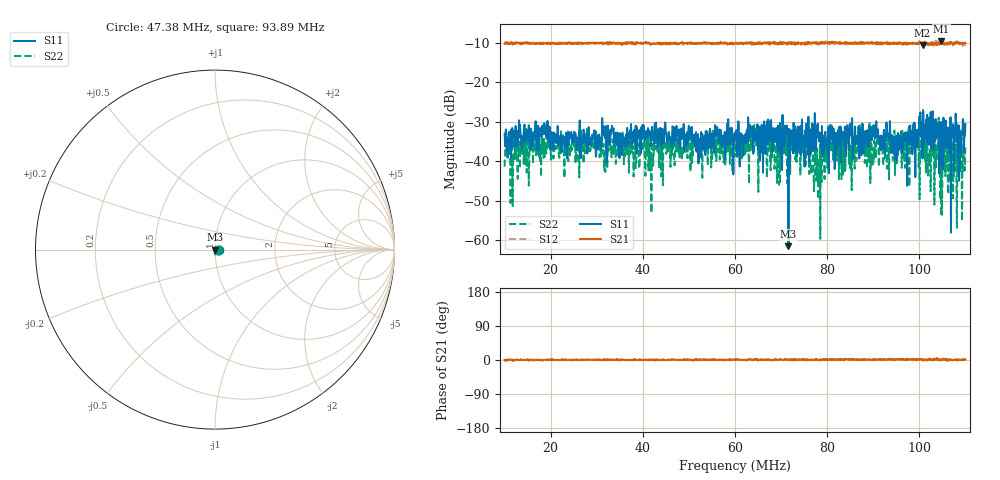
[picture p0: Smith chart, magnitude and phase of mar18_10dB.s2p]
! Anritsu VNA Master:  Model: MS2036C/10/77
! SN:  1601066
! /card0/usr/mar18_10dB.s2p
! Existing Calibration Information:
! TYPE:  Current Settings,  Active Cal Settings
! TIME:  03/18/2016 01:39:25 PM,  03/18/2016 01:23:09 PM
! INTERNAL TEMP:  47.8 C,  46.8 C
! # POINTS:  1087,  1087
! START FREQ:  10.000 MHz,  5.000 kHz
! STOP FREQ:  110.000 MHz,  6.000 GHz
! SOURCE POWER:  Low,  Low
! IFBW:  1 kHz,  1 kHz
! AVG FACTOR:  1 ,  1
! REF PLANE 1:  -6.095 mm,  -6.095 mm
! REF PLANE 2:  0 mm,  0 mm
! CAL TYPE:  Full 2 Port,  Full 2 Port
! CAL METHOD:  SOLT,  SOLT
! CAL LINE TYPE:  Coax,  Coax
! DUT PORT 1:  K-Conn(M),  K-Conn(M)
! DUT PORT 2:  N-Conn(M),  N-Conn(M)
! CAL STATUS:  OK: Accuracy High,  --
# GHZ S MA R 50.0
! FREQ.GHZ  S11M  S11A  S21M  S21A  S12M  S12A  S22M  S22A
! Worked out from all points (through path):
!   1087 points, 10 MHz to 110 MHz, reference 50 ohm
!   highest |S21| = -9.62 dB at 104.8 MHz (marker M1); lowest = -10.7 dB at 100.7 MHz (marker M2)
!   lowest |S11| = -61.5 dB at 71.6 MHz (marker M3), VSWR 1.00, Z = 50.1 - j0.0625 ohm
!   |S11| at or under -10 dB: start of sweep to end of sweep
!   |S22| runs from -59.7 to -29.0 dB; largest |S21 - S12| = 0.042
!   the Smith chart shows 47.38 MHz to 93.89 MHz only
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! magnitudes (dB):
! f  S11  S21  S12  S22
! 10 MHz  -33.0  -10.3  -9.6  -41.4
! 10.64 MHz  -39.1  -10.0  -9.9  -38.3
! 11.57 MHz  -36.3  -9.9  -10.3  -34.4
! 16.26 MHz  -33.3  -10.1  -9.9  -32.5
! 26.67 MHz  -34.8  -10.1  -10.2  -37.5
! 43.43 MHz  -31.7  -10.1  -10.0  -37.5
! 60 MHz  -33.5  -10.1  -10.1  -38.7
! 67.37 MHz  -30.6  -10.3  -9.9  -32.4
! 71.6 MHz  -61.5  -9.8  -10.1  -38.4
! 75.56 MHz  -31.3  -9.9  -10.1  -34.8
! 76.67 MHz  -37.3  -10.1  -9.9  -42.7
! 78.32 MHz  -34.6  -10.3  -10.2  -40.5
! 80.17 MHz  -38.0  -9.8  -10.3  -30.9
! 83.48 MHz  -32.6  -10.0  -10.0  -33.1
! 87.53 MHz  -34.2  -9.8  -10.3  -36.0
! 93.43 MHz  -34.4  -10.1  -10.0  -44.6
! 94.81 MHz  -39.5  -10.1  -10.0  -33.6
! 100.7 MHz  -39.3  -10.7  -9.9  -38.0
! 104.8 MHz  -41.2  -9.6  -10.2  -53.9
! 107.8 MHz  -33.3  -10.0  -10.0  -37.1
! 108.7 MHz  -32.1  -10.4  -10.1  -38.1
! 110 MHz  -30.6  -10.1  -10.8  -35.6
